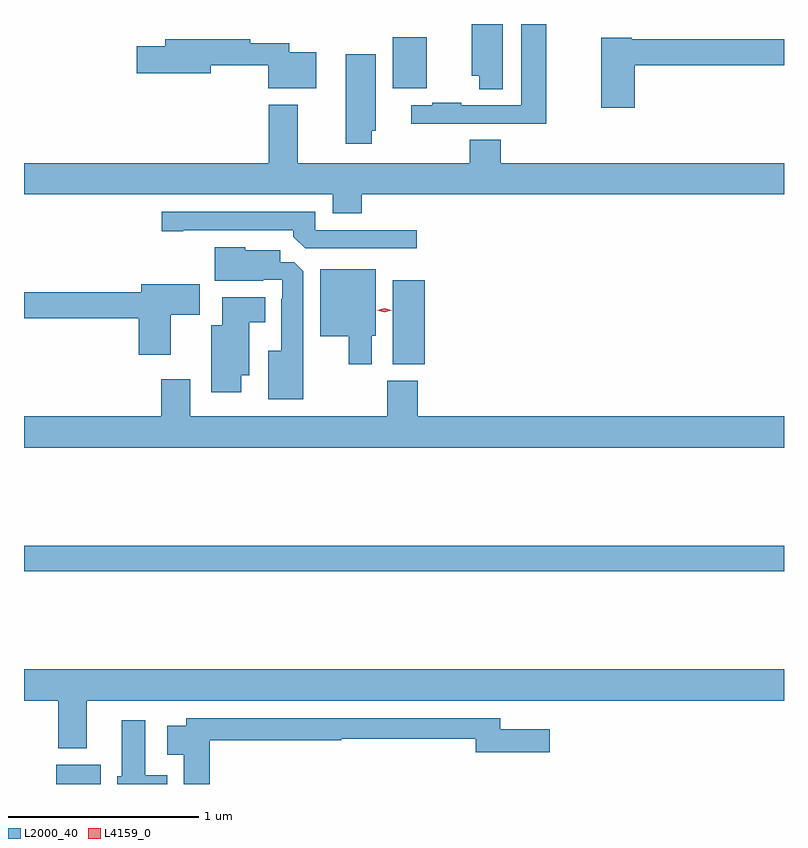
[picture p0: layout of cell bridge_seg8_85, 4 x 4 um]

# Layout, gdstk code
import gdstk
lib = gdstk.Library(unit=1e-6, precision=1e-09)
def R(c, l, rs):  # rectangles x0, y0, x1, y1
    for r in rs: c.add(gdstk.rectangle(r[:2], r[2:], *l))
def P(c, l, *ps):  # polygons
    for p in ps: c.add(gdstk.Polygon(p, *l))
L2000_40 = (2000, 40)
L4159_0 = (4159, 0)

bridge_seg8_85 = lib.new_cell('bridge_seg8_85')
R(bridge_seg8_85, L2000_40, [(803.384,1112.065,803.617,1112.167), (803.214,1113.184,807.214,1113.32), (805.154,1114.273,805.322,1114.717), (805.154,1115.726,805.333,1115.995)])
P(bridge_seg8_85, L2000_40, [(805.475,1115.541),(805.962,1115.541),(805.962,1116.065),(805.832,1116.065),(805.832,1115.637),(805.514,1115.637),(805.514,1115.65),(805.363,1115.65),(805.363,1115.637),(805.251,1115.637),(805.251,1115.54),(805.475,1115.54)],
  [(805.735,1116.065),(805.571,1116.065),(805.571,1115.792),(805.61,1115.792),(805.61,1115.722),(805.735,1115.722)],
  [(806.429,1115.848),(807.214,1115.848),(807.214,1115.984),(806.412,1115.984),(806.412,1115.992),(806.251,1115.992),(806.251,1115.625),(806.429,1115.625)],
  [(804.751,1115.917),(804.61,1115.917),(804.61,1115.964),(804.404,1115.964),(804.404,1115.984),(803.957,1115.984),(803.957,1115.948),(803.808,1115.948),(803.808,1115.806),(804.196,1115.806),(804.196,1115.848),(804.5,1115.848),(804.5,1115.726),(804.751,1115.726)],
  [(805.043,1115.504),(805.066,1115.504),(805.066,1115.905),(804.908,1115.905),(804.908,1115.436),(805.043,1115.436)],
  [(805.559,1115.456),(805.559,1115.332),(804.655,1115.332),(804.655,1115.641),(804.503,1115.641),(804.503,1115.332),(803.214,1115.332),(803.214,1115.168),(804.839,1115.168),(804.839,1115.069),(804.992,1115.069),(804.992,1115.168),(807.214,1115.168),(807.214,1115.332),(805.724,1115.332),(805.724,1115.456)],
  [(805.282,1114.98),(804.747,1114.98),(804.747,1115.076),(803.94,1115.076),(803.94,1114.975),(804.052,1114.975),(804.052,1114.98),(804.632,1114.98),(804.632,1114.946),(804.693,1114.884),(805.282,1114.884)],
  [(804.685,1114.763),(804.636,1114.812),(804.562,1114.812),(804.562,1114.873),(804.378,1114.873),(804.378,1114.891),(804.218,1114.891),(804.218,1114.715),(804.473,1114.715),(804.473,1114.719),(804.573,1114.719),(804.573,1114.619),(804.569,1114.619),(804.569,1114.345),(804.5,1114.345),(804.5,1114.091),(804.685,1114.091)],
  [(805.045,1114.425),(805.066,1114.425),(805.066,1114.774),(804.773,1114.774),(804.773,1114.421),(804.923,1114.421),(804.923,1114.275),(805.045,1114.275)],
  [(803.986,1114.534),(804.139,1114.534),(804.139,1114.696),(803.831,1114.696),(803.831,1114.652),(803.214,1114.652),(803.214,1114.516),(803.819,1114.516),(803.819,1114.323),(803.986,1114.323)],
  [(804.358,1114.217),(804.4,1114.217),(804.4,1114.496),(804.484,1114.496),(804.484,1114.627),(804.257,1114.627),(804.257,1114.48),(804.2,1114.48),(804.2,1114.128),(804.358,1114.128)],
  [(807.214,1114),(805.286,1114),(805.286,1114.188),(805.126,1114.188),(805.126,1114),(804.088,1114),(804.088,1114.195),(803.936,1114.195),(803.936,1114),(803.214,1114),(803.214,1113.836),(807.214,1113.836)],
  [(803.545,1112.504),(807.214,1112.504),(807.214,1112.668),(803.214,1112.668),(803.214,1112.504),(803.393,1112.504),(803.393,1112.252),(803.545,1112.252)],
  [(804.191,1112.296),(804.885,1112.296),(804.885,1112.304),(805.592,1112.304),(805.592,1112.231),(805.981,1112.231),(805.981,1112.353),(805.72,1112.353),(805.72,1112.412),(804.068,1112.412),(804.068,1112.371),(803.969,1112.371),(803.969,1112.219),(804.056,1112.219),(804.056,1112.065),(804.191,1112.065)],
  [(803.968,1112.11),(803.851,1112.11),(803.851,1112.401),(803.729,1112.401),(803.729,1112.106),(803.705,1112.106),(803.705,1112.065),(803.968,1112.065)])
P(bridge_seg8_85, L4159_0, [(805.111,1114.549),(805.073,1114.559),(805.073,1114.559),(805.073,1114.559),(805.111,1114.569),(805.149,1114.559),(805.149,1114.559),(805.149,1114.559)])

lib.write_gds('bridge_seg8_85.gds')
